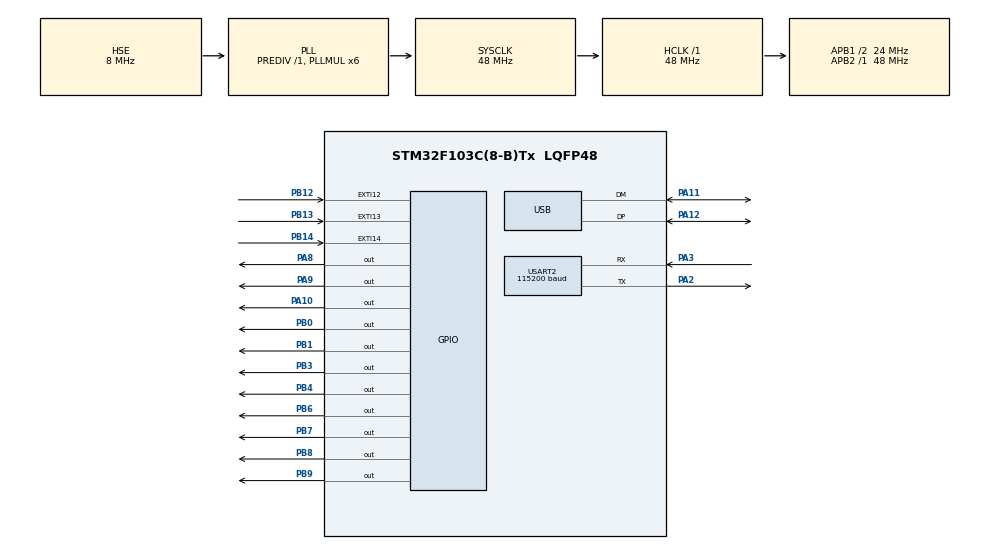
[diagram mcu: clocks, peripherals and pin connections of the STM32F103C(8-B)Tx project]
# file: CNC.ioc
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Mcu.Family=STM32F1
Mcu.Name=STM32F103C(8-B)Tx
Mcu.Package=LQFP48
NVIC.EXTI15_10_IRQn=true\:0\:0\:false\:false\:true\:true\:true\:true
NVIC.PriorityGroup=NVIC_PRIORITYGROUP_4
NVIC.USB_LP_CAN1_RX0_IRQn=true\:0\:0\:false\:false\:true\:false\:true\:true
PA10.Signal=GPIO_Output
PA11.Mode=Device
PA11.Signal=USB_DM
PA12.Mode=Device
PA12.Signal=USB_DP
PA13.Mode=Serial_Wire
PA13.Signal=SYS_JTMS-SWDIO
PA14.Mode=Serial_Wire
PA14.Signal=SYS_JTCK-SWCLK
PA2.Mode=Asynchronous
PA2.Signal=USART2_TX
PA3.Mode=Asynchronous
PA3.Signal=USART2_RX
PA8.Signal=GPIO_Output
PA9.Signal=GPIO_Output
PB0.Signal=GPIO_Output
PB1.Signal=GPIO_Output
PB12.GPIO_PuPd=GPIO_PULLUP
PB12.Signal=GPXTI12
PB13.GPIO_PuPd=GPIO_PULLUP
PB13.Signal=GPXTI13
PB14.GPIO_PuPd=GPIO_PULLUP
PB14.Signal=GPXTI14
PB3.Signal=GPIO_Output
PB4.Signal=GPIO_Output
PB6.Signal=GPIO_Output
PB7.Signal=GPIO_Output
PB8.Signal=GPIO_Output
PB9.Signal=GPIO_Output
PD0-OSC_IN.Mode=HSE-External-Oscillator
PD0-OSC_IN.Signal=RCC_OSC_IN
PD1-OSC_OUT.Mode=HSE-External-Oscillator
PD1-OSC_OUT.Signal=RCC_OSC_OUT
ProjectManager.HeapSize=0x200
ProjectManager.StackSize=0x400
ProjectManager.TargetToolchain=STM32CubeIDE
RCC.AHBFreq_Value=48000000
RCC.APB1CLKDivider=RCC_HCLK_DIV2
RCC.APB1Freq_Value=24000000
RCC.APB1TimFreq_Value=48000000
RCC.APB2Freq_Value=48000000
RCC.APB2TimFreq_Value=48000000
RCC.HCLKFreq_Value=48000000
RCC.PLLMUL=RCC_PLL_MUL6
RCC.PLLSourceVirtual=RCC_PLLSOURCE_HSE
RCC.SYSCLKFreq_VALUE=48000000
RCC.SYSCLKSource=RCC_SYSCLKSOURCE_PLLCLK
RCC.USBFreq_Value=48000000
USART2.BaudRate=115200
USART2.VirtualMode=VM_ASYNC
USB_DEVICE.CLASS_NAME_FS=CDC
USB_DEVICE.VirtualMode=Cdc
USB_DEVICE.VirtualModeFS=Cdc_FS
VP_USB_DEVICE_VS_USB_DEVICE_CDC_FS.Mode=CDC_FS
board=custom

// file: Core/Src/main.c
/* USER CODE BEGIN Header */
/**
  ******************************************************************************
  * @file           : main.c
  * @brief          : Main program body
  ******************************************************************************
  * @attention
  *
  * Copyright (c) 2025 STMicroelectronics.
  * All rights reserved.
  *
  * This software is licensed under terms that can be found in the LICENSE file
  * in the root directory of this software component.
  * If no LICENSE file comes with this software, it is provided AS-IS.
  *
  ******************************************************************************
  */
/* USER CODE END Header */
#include "main.h"
#include "usb_device.h"

/* USER CODE BEGIN Includes */
#include <string.h>
#include <stdio.h>
#include <stdlib.h>
#include <stdbool.h>
#include <math.h>
#include <stdint.h>
#include "usbd_cdc_if.h"
#include "stm32f1xx_hal.h"
#include "gcode_parser.h"
#include "config.h"
#include "motion.h"
//#include "usart.h"
/* USER CODE END Includes */

/* USER CODE BEGIN PD */

// Función auxiliar para envío USB según el método configurado
void sendUSBText(const char* message) {
    //uint16_t len = strlen(message);
    //CDC_Transmit_Queued((uint8_t*)message, len);
    HAL_UART_Transmit(&huart2, (uint8_t*)message, strlen(message), HAL_MAX_DELAY);
}

/* USER CODE END PD */

UART_HandleTypeDef huart2;

/* USER CODE BEGIN PV */
extern UART_HandleTypeDef huart1;
// Declarar buffer global (accesible desde motion.c)
char outputBuffer[OUTPUT_BUFFER_SIZE];
int bufferIndex = 0;
bool commandComplete = false;
int32_t currentX, currentY, currentZ;

// Variables para control de velocidad y feed rate
float currentFeedRate = DEFAULT_FEED_RATE;     // Feed rate en mm/min (valor por defecto)
float rapidRate = DEFAULT_RAPID_RATE;          // Velocidad rápida para G0 en mm/min
float maxFeedRate = DEFAULT_MAX_FEED_RATE;     // Velocidad máxima permitida

// Buffer para recibir comandos por USB CDC
char usbBuffer[USB_BUFFER_SIZE];
int usbBufferIndex = 0;
bool usbCommandComplete = false;  // Cambiar a false para evitar procesamiento inicial

// Sistema de almacenamiento de programa G-code
char gcodeProgram[MAX_GCODE_LINES][MAX_LINE_LENGTH];  // Buffer para almacenar el programa
int programLineCount = 0;          // Número de líneas actualmente almacenadas
int currentExecutingLine = 0;      // Línea que se está ejecutando actualmente
bool isStoringProgram = false;     // Flag para indicar si estamos en modo almacenamiento
bool isProgramLoaded = false;      // Flag para indicar si hay un programa cargado
bool isProgramRunning = false;     // Flag para indicar si el programa se está ejecutando

/* USER CODE END PV */

void SystemClock_Config(void);
static void MX_GPIO_Init(void);
static void MX_USART2_UART_Init(void);
/* USER CODE BEGIN PFP */
void loop(void);
void setup(void);
// void moveAxes(float x, float y, float z);
void processGcode(const char* command);
void performHoming(void);
bool isEndstopPressed(char axis);
void showConfiguration(void);
void report_status_message(uint8_t status_code);
void endstop_error_handler(char axis);

// Funciones para manejo de programa G-code
void startProgramStorage(void);
void stopProgramStorage(void);
bool addLineToProgram(const char* line);
void clearProgram(void);
void runProgram(void);
void runNextLine(void);
void pauseProgram(void);
void stopProgram(void);
void showHelp(void);
void showQueueStatus(void);  // Nueva función de diagnóstico
void showProgramStatus(void); // Nueva función para estado del programa

void processProgram(void);  // Nueva función para ejecutar programa progresivamente

/* USER CODE END PFP */

int main(void)
{

  /* MCU Configuration--------------------------------------------------------*/

  /* Reset of all peripherals, Initializes the Flash interface and the Systick. */
  HAL_Init();

  /* Configure the system clock */
  SystemClock_Config();

  /* USER CODE BEGIN SysInit */

    // Inicializar cola de transmisión USB CDC
    CDC_TxQueue_Init();

    // Inicialización similar al setup() de Arduino
    setup();

    #if DEBUG_MESSAGES
    // Mensaje adicional de debug
    CDC_Transmit_Queued((uint8_t*)"Sistema iniciado - Esperando comandos...\r\n", 42);
    #endif
  /* USER CODE END SysInit */

  /* Initialize all configured peripherals */
  MX_GPIO_Init();
  MX_USART2_UART_Init();
  MX_USB_DEVICE_Init();
  /* USER CODE BEGIN 2 */
    // Led de encendido inicial
    HAL_GPIO_WritePin(GPIOB, LED_CHECK, GPIO_PIN_SET);  // Encender
    // Envío inicial usando cola
    CDC_Transmit_Queued((uint8_t*)"G-code listo\r\n", 14);

  /* USER CODE END 2 */

  /* Infinite loop */
  /* USER CODE BEGIN WHILE */
  while (1)
  {
    // Procesar cola de transmisión USB CDC
    CDC_TxQueue_Process();

    loop();

    /* USER CODE END WHILE */

  }
}

void SystemClock_Config(void)
{
  RCC_OscInitTypeDef RCC_OscInitStruct = {0};
  RCC_ClkInitTypeDef RCC_ClkInitStruct = {0};
  RCC_PeriphCLKInitTypeDef PeriphClkInit = {0};

  /** Initializes the RCC Oscillators according to the specified parameters
  * in the RCC_OscInitTypeDef structure.
  */
  RCC_OscInitStruct.OscillatorType = RCC_OSCILLATORTYPE_HSE;
  RCC_OscInitStruct.HSEState = RCC_HSE_ON;
  RCC_OscInitStruct.HSEPredivValue = RCC_HSE_PREDIV_DIV1;
  RCC_OscInitStruct.HSIState = RCC_HSI_ON;
  RCC_OscInitStruct.PLL.PLLState = RCC_PLL_ON;
  RCC_OscInitStruct.PLL.PLLSource = RCC_PLLSOURCE_HSE;
  RCC_OscInitStruct.PLL.PLLMUL = RCC_PLL_MUL6;
  if (HAL_RCC_OscConfig(&RCC_OscInitStruct) != HAL_OK)
  {
    Error_Handler();
  }

  /** Initializes the CPU, AHB and APB buses clocks
  */
  RCC_ClkInitStruct.ClockType = RCC_CLOCKTYPE_HCLK|RCC_CLOCKTYPE_SYSCLK
                              |RCC_CLOCKTYPE_PCLK1|RCC_CLOCKTYPE_PCLK2;
  RCC_ClkInitStruct.SYSCLKSource = RCC_SYSCLKSOURCE_PLLCLK;
  RCC_ClkInitStruct.AHBCLKDivider = RCC_SYSCLK_DIV1;
  RCC_ClkInitStruct.APB1CLKDivider = RCC_HCLK_DIV2;
  RCC_ClkInitStruct.APB2CLKDivider = RCC_HCLK_DIV1;

  if (HAL_RCC_ClockConfig(&RCC_ClkInitStruct, FLASH_LATENCY_1) != HAL_OK)
  {
    Error_Handler();
  }
  PeriphClkInit.PeriphClockSelection = RCC_PERIPHCLK_USB;
  PeriphClkInit.UsbClockSelection = RCC_USBCLKSOURCE_PLL;
  if (HAL_RCCEx_PeriphCLKConfig(&PeriphClkInit) != HAL_OK)
  {
    Error_Handler();
  }
}

static void MX_USART2_UART_Init(void)
{

  /* USER CODE BEGIN USART2_Init 0 */
//
  /* USER CODE END USART2_Init 0 */

  /* USER CODE BEGIN USART2_Init 1 */
//
  /* USER CODE END USART2_Init 1 */
  huart2.Instance = USART2;
  huart2.Init.BaudRate = 9600;
  huart2.Init.WordLength = UART_WORDLENGTH_8B;
  huart2.Init.StopBits = UART_STOPBITS_1;
  huart2.Init.Parity = UART_PARITY_NONE;
  huart2.Init.Mode = UART_MODE_TX_RX;
  huart2.Init.HwFlowCtl = UART_HWCONTROL_NONE;
  huart2.Init.OverSampling = UART_OVERSAMPLING_16;
  if (HAL_UART_Init(&huart2) != HAL_OK)
  {
    Error_Handler();
  }
  /* USER CODE BEGIN USART2_Init 2 */
//
  /* USER CODE END USART2_Init 2 */

}

static void MX_GPIO_Init(void)
{
  GPIO_InitTypeDef GPIO_InitStruct = {0};

  /* GPIO Ports Clock Enable */
  __HAL_RCC_GPIOD_CLK_ENABLE();
  __HAL_RCC_GPIOA_CLK_ENABLE();
  __HAL_RCC_GPIOB_CLK_ENABLE();

  /*Configure GPIO pin Output Level */
  HAL_GPIO_WritePin(GPIOB, GPIO_PIN_0|GPIO_PIN_1|GPIO_PIN_3|GPIO_PIN_4
                          |GPIO_PIN_6|GPIO_PIN_7|GPIO_PIN_8|GPIO_PIN_9, GPIO_PIN_RESET);

  /*Configure GPIO pin Output Level */
  HAL_GPIO_WritePin(GPIOA, GPIO_PIN_8|GPIO_PIN_9|GPIO_PIN_10, GPIO_PIN_RESET);

  /*Configure GPIO pins : PB0 PB1 PB3 PB4
                           PB6 PB7 PB8 PB9 */
  GPIO_InitStruct.Pin = GPIO_PIN_0|GPIO_PIN_1|GPIO_PIN_3|GPIO_PIN_4
                          |GPIO_PIN_6|GPIO_PIN_7|GPIO_PIN_8|GPIO_PIN_9;
  GPIO_InitStruct.Mode = GPIO_MODE_OUTPUT_PP;
  GPIO_InitStruct.Pull = GPIO_NOPULL;
  GPIO_InitStruct.Speed = GPIO_SPEED_FREQ_LOW;
  HAL_GPIO_Init(GPIOB, &GPIO_InitStruct);

  /*Configure GPIO pins : PB12 PB13 PB14 */
  GPIO_InitStruct.Pin = GPIO_PIN_12|GPIO_PIN_13|GPIO_PIN_14;
  GPIO_InitStruct.Mode = GPIO_MODE_IT_RISING;
  GPIO_InitStruct.Pull = GPIO_PULLUP;
  HAL_GPIO_Init(GPIOB, &GPIO_InitStruct);

  /*Configure GPIO pins : PA8 PA9 PA10 */
  GPIO_InitStruct.Pin = GPIO_PIN_8|GPIO_PIN_9|GPIO_PIN_10;
  GPIO_InitStruct.Mode = GPIO_MODE_OUTPUT_PP;
  GPIO_InitStruct.Pull = GPIO_NOPULL;
  GPIO_InitStruct.Speed = GPIO_SPEED_FREQ_LOW;
  HAL_GPIO_Init(GPIOA, &GPIO_InitStruct);

  /* EXTI interrupt init*/
  HAL_NVIC_SetPriority(EXTI15_10_IRQn, 0, 0);
  HAL_NVIC_EnableIRQ(EXTI15_10_IRQn);

}

/* USER CODE BEGIN 4 */
void processGcode(const char* command) {
    // Comandos especiales para control de programa
    if (strncmp(command, "PROGRAM_START", 13) == 0) {
        startProgramStorage();
        return;
    }
    else if (strncmp(command, "PROGRAM_STOP", 12) == 0) {
        stopProgramStorage();
        return;
    }
    else if (strncmp(command, "PROGRAM_RUN", 11) == 0) {
        runProgram();
        return;
    }
    else if (strncmp(command, "PROGRAM_CLEAR", 13) == 0) {
        clearProgram();
        return;
    }
    else if (strncmp(command, "PROGRAM_PAUSE", 13) == 0) {
        pauseProgram();
        return;
    }
    else if (strncmp(command, "PROGRAM_NEXT", 12) == 0) {
        runNextLine();
        return;
    }
    else if (strncmp(command, "PROGRAM_STATUS", 14) == 0) {
        showProgramStatus();
        return;
    }
    else if (strncmp(command, "HELP", 4) == 0 || strncmp(command, "help", 4) == 0) {
        showHelp();
        return;
    }
    else if (strncmp(command, "QUEUE_STATUS", 12) == 0) {
        showQueueStatus();
        return;
    }
    else if (strncmp(command, "FIN", 3) == 0 || strncmp(command, "fin", 3) == 0) {
        if (isStoringProgram) {
            stopProgramStorage();
            return;
        }
    }
    // Si estamos en modo almacenamiento, agregar la línea al programa
    if (isStoringProgram) {
        if (addLineToProgram(command)) {
            sendUSBText("ok\r\n");
        } else {
            // El error ya fue enviado por addLineToProgram
            // Detener el modo de almacenamiento
            isStoringProgram = false;
            isProgramLoaded = false;
            programLineCount = 0;
        }
        return;
    }

    // Procesamiento normal de G-code
    char line_copy[100];
    strncpy(line_copy, command, sizeof(line_copy) - 1);
    line_copy[sizeof(line_copy) - 1] = '\0';

    uint8_t status = gc_execute_line(line_copy);

    // Enviar respuesta final usando el parser modular
    report_status_message(status);
}

void loop(void) {
    #if DEBUG_MESSAGES
    // Heartbeat para confirmar que el sistema está funcionando
    static uint32_t lastHeartbeat = 0;
    uint32_t currentTime = HAL_GetTick();  // Declarar currentTime

    // Debug: mostrar tiempo actual
    char debugMsg[50];
    sprintf(debugMsg, "[DEBUG] Tiempo actual: %lu\r\n", currentTime);
    sendUSBText(debugMsg);

    // Heartbeat cada 5 segundos para confirmar que está vivo
    if (currentTime - lastHeartbeat > 5000) {
        lastHeartbeat = currentTime;
        sendUSBText("[HEARTBEAT] Sistema activo\r\n");
    }
    #endif

    // Procesar programa en ejecución (si corresponde)
    if (isProgramRunning) {
        processProgram();
    }

    // Procesar comandos USB CDC - SOLO cuando hay un comando completo
    if (usbCommandComplete) {
        #if DEBUG_MESSAGES
        // Debug: mostrar estado de variables
        char debugStatus[200];  // Buffer más grande para evitar overflow
        sprintf(debugStatus, "[DEBUG] usbCommandComplete=true, bufferIndex=%d, buffer=[%s]\r\n",
                usbBufferIndex, usbBuffer);
        sendUSBText(debugStatus);
        #endif

        // Verificar que el buffer no esté vacío y contenga algo más que espacios
        bool hasValidCommand = false;
        for (int i = 0; i < usbBufferIndex; i++) {
            if (usbBuffer[i] != ' ' && usbBuffer[i] != '\t' && usbBuffer[i] != '\r' && usbBuffer[i] != '\n') {
                hasValidCommand = true;
                break;
            }
        }

        if (hasValidCommand && usbBufferIndex > 0) {
            #if DEBUG_MESSAGES
            // Debug: confirmar que llegó el comando (buffer más grande para evitar warning)
            sprintf(outputBuffer, ">>> [%s]\r\n", usbBuffer);
            sendUSBText(outputBuffer);

            #endif

            processGcode(usbBuffer);
        }

        // IMPORTANTE: Resetear todo después de procesar (o intentar procesar)
        usbBufferIndex = 0;
        memset(usbBuffer, 0, sizeof(usbBuffer));
        usbCommandComplete = false;  // Asegurar que se resetee correctamente
    }
}

void setup(void) {
    // Activar DWT para microsegundos
    CoreDebug->DEMCR |= CoreDebug_DEMCR_TRCENA_Msk;
    DWT->CTRL |= DWT_CTRL_CYCCNTENA_Msk;

    // Habilitar drivers de motores (EN pins en LOW)
    enableSteppers();

    // Asegurar que LEDs estén apagados al inicio
    HAL_GPIO_WritePin(GPIOB, LED_CHECK, GPIO_PIN_RESET);
    HAL_GPIO_WritePin(GPIOB, LED_ERROR, GPIO_PIN_RESET);

    // Secuencia de 3 parpadeos de los LEDs de chequeo y error
    for (int i = 0; i < 3; i++) {
        HAL_GPIO_WritePin(GPIOB, LED_CHECK, GPIO_PIN_SET);
        HAL_GPIO_WritePin(GPIOB, LED_ERROR, GPIO_PIN_SET);
        HAL_Delay(150);
        HAL_GPIO_WritePin(GPIOB, LED_CHECK, GPIO_PIN_RESET);
        HAL_GPIO_WritePin(GPIOB, LED_ERROR, GPIO_PIN_RESET);
        HAL_Delay(150);
    }

    // Inicializar parser G-code modular con callbacks
    gc_init();

}

// Callback específico para movimiento rápido G0
void moveAxesRapidCallback(float x, float y, float z, bool x_defined, bool y_defined, bool z_defined) {
    // Usar movimiento directo (modo compatibilidad)
    float target_x = x_defined ? x : NAN;
    float target_y = y_defined ? y : NAN;
    float target_z = z_defined ? z : NAN;

    moveAxesWithFeedRate(target_x, target_y, target_z, rapidRate, true);
}

void moveAxesArcCallback(float x, float y, float r, bool clockwise, float feedRate, bool f_defined) {
    // Actualizar feed rate actual si se especifica
    if (f_defined && feedRate > 0) {
        currentFeedRate = feedRate;
    }

    // Usar movimiento directo con feed rate actual
    arc_move_r(x, y, r, clockwise, currentFeedRate);
}

// Callback específico para movimiento lineal G1 con feed rate
void moveAxesLinearCallback(float x, float y, float z, float feedRate, bool x_defined, bool y_defined, bool z_defined, bool f_defined) {
    // Actualizar feed rate actual si se especifica
    if (f_defined && feedRate > 0) {
        currentFeedRate = feedRate;
    }

    float target_x = x_defined ? x : NAN;
    float target_y = y_defined ? y : NAN;
    float target_z = z_defined ? z : NAN;

    moveAxesWithFeedRate(target_x, target_y, target_z, currentFeedRate, false);
}

// Función para mostrar la configuración actual del sistema
void showConfiguration(void) {

    sendUSBText("=== CONFIGURACIÓN CNC ===\r\n");

    sprintf(outputBuffer, "Steps per mm X: %d\r\n", STEPS_PER_MM_X);
    sendUSBText(outputBuffer);

    sprintf(outputBuffer, "Steps per mm Y: %d\r\n", STEPS_PER_MM_Y);
    sendUSBText(outputBuffer);

    sprintf(outputBuffer, "Steps per mm Z: %d\r\n", STEPS_PER_MM_Z);
    sendUSBText(outputBuffer);

    sprintf(outputBuffer, "Step delay: %d us\r\n", STEP_DELAY_US);
    sendUSBText(outputBuffer);

    // Convertir feed rate actual a enteros
    int feed_int = (int)currentFeedRate;
    int feed_dec = (int)((currentFeedRate - feed_int) * 10);
    sprintf(outputBuffer, "Feed rate actual: %d.%d mm/min\r\n", feed_int, feed_dec);
    sendUSBText(outputBuffer);

    // Convertir velocidades a enteros para mostrar
    int rapid_int = (int)rapidRate;
    int rapid_dec = (int)((rapidRate - rapid_int) * 10);
    sprintf(outputBuffer, "Velocidad rápida (G0): %d.%d mm/min\r\n", rapid_int, rapid_dec);
    sendUSBText(outputBuffer);

    int max_int = (int)maxFeedRate;
    int max_dec = (int)((maxFeedRate - max_int) * 10);
    sprintf(outputBuffer, "Velocidad máxima: %d.%d mm/min\r\n", max_int, max_dec);
    sendUSBText(outputBuffer);

    // Mostrar posición actual
    float xPos = currentX / (float)STEPS_PER_MM_X;
    float yPos = currentY / (float)STEPS_PER_MM_Y;
    float zPos = currentZ / (float)STEPS_PER_MM_Z;

    // Convertir a enteros para evitar problemas con printf float
    int x_int = (int)xPos;
    int x_dec = (int)((xPos - x_int) * 100);
    int y_int = (int)yPos;
    int y_dec = (int)((yPos - y_int) * 100);
    int z_int = (int)zPos;
    int z_dec = (int)((zPos - z_int) * 100);

    sprintf(outputBuffer, "Posición actual: X%d.%02d Y%d.%02d Z%d.%02d mm\r\n",
           x_int, abs(x_dec), y_int, abs(y_dec), z_int, abs(z_dec));
    sendUSBText(outputBuffer);

    sendUSBText("=== FIN CONFIGURACIÓN ===\r\n");
}

// Función para verificar si un final de carrera está presionado
bool isEndstopPressed(char axis) {
    switch(axis) {
        case 'X':
            return (HAL_GPIO_ReadPin(GPIOB, X_MIN_PIN) == GPIO_PIN_RESET);
        case 'Y':
            return (HAL_GPIO_ReadPin(GPIOB, Y_MIN_PIN) == GPIO_PIN_RESET);
        case 'Z':
            return (HAL_GPIO_ReadPin(GPIOB, Z_MIN_PIN) == GPIO_PIN_RESET);
        default:
            return false;
    }
}

// Función de homing para todos los ejes
void performHoming(void) {
    HAL_NVIC_DisableIRQ(EXTI15_10_IRQn);

    // Enviar mensaje de inicio de homing
    sendUSBText("Iniciando secuencia de homing...\r\n");

    // FASE 1: Movimiento rápido hacia los finales de carrera
    sprintf(outputBuffer, "Fase 1: Buscando finales de carrera...\r\n");
    sendUSBText(outputBuffer);

    // Homing del eje X
    sprintf(outputBuffer, "Homing eje X...\r\n");
    sendUSBText(outputBuffer);

    // Mover hacia el final de carrera X (dirección negativa)
    HAL_GPIO_WritePin(GPIOB, X_DIR_PIN, GPIO_PIN_RESET); // Dirección negativa
    while (!isEndstopPressed('X')) {
        X_stepOnce();
        delay_us(STEP_DELAY_US);
    }

    // FASE 1: Retroceder 2mm del final de carrera X
    HAL_GPIO_WritePin(GPIOB, X_DIR_PIN, GPIO_PIN_SET); // Dirección positiva
    for (int i = 0; i < 4*STEPS_PER_MM_X; i++) { // Exactamente 2mm
        X_stepOnce();
        delay_us(STEP_DELAY_US);
    }

    // Verificar que se liberó el switch después de alejarse 2mm
    if (isEndstopPressed('X')) {
        sprintf(outputBuffer, "Error: Fin de carrera X no se liberó después de alejarse 2mm\r\n");
        sendUSBText(outputBuffer);

        return;
    }

    // FASE 2: Regresar 4mm hacia el final de carrera X
    HAL_GPIO_WritePin(GPIOB, X_DIR_PIN, GPIO_PIN_RESET); // Dirección negativa
    for (int i = 0; i < 4*STEPS_PER_MM_X; i++) { // Exactamente 4mm de regreso
        X_stepOnce();
        delay_us(STEP_DELAY_US *3); // Movimiento lento para precisión
    }
    // Pausa para estabilización
    HAL_Delay(100);
    // Verificar que el final de carrera esté presionado después de regresar 4mm
    if (!isEndstopPressed('X')) {
        sprintf(outputBuffer, "Error: Fin de carrera X no está presionado después de regresar 4mm\r\n");
        sendUSBText(outputBuffer);

        return;
    }
    currentX = 0; // Establecer posición home
    sprintf(outputBuffer, "Eje X en posición home\r\n");
    sendUSBText(outputBuffer);

    // Homing del eje Y
    sprintf(outputBuffer, "Homing eje Y...\r\n");
    sendUSBText(outputBuffer);

    // Mover hacia el final de carrera Y (dirección negativa)
    HAL_GPIO_WritePin(GPIOB, Y_DIR_PIN, GPIO_PIN_RESET); // Dirección negativa
    while (!isEndstopPressed('Y')) {
        Y_stepOnce();
        delay_us(STEP_DELAY_US);
    }

    // FASE 1: Retroceder 4mm del final de carrera Y
    HAL_GPIO_WritePin(GPIOB, Y_DIR_PIN, GPIO_PIN_SET); // Dirección positiva
    for (int i = 0; i < 4*STEPS_PER_MM_Y; i++) { // Exactamente 4mm
        Y_stepOnce();
        delay_us(STEP_DELAY_US);
    }

    // Verificar que se liberó el switch después de alejarse 4mm
    if (isEndstopPressed('Y')) {
        sprintf(outputBuffer, "Error: Fin de carrera Y no se liberó después de alejarse 4mm\r\n");
        sendUSBText(outputBuffer);

        return;
    }

    // FASE 2: Regresar 4mm hacia el final de carrera Y
    HAL_GPIO_WritePin(GPIOB, Y_DIR_PIN, GPIO_PIN_RESET); // Dirección negativa
    for (int i = 0; i < 4.02*STEPS_PER_MM_Y; i++) { // Exactamente 4mm de regreso
        Y_stepOnce();
        delay_us(STEP_DELAY_US*3); // Movimiento lento para precisión
    }
    // Pausa para estabilización
    HAL_Delay(100);
    // Verificar que el final de carrera esté presionado después de regresar 4mm
    if (!isEndstopPressed('Y')) {
        sprintf(outputBuffer, "Error: Fin de carrera Y no está presionado después de regresar 4mm\r\n");
        sendUSBText(outputBuffer);

        return;
    }

    currentY = 0; // Establecer posición home
    sprintf(outputBuffer, "Eje Y en posición home\r\n");
    sendUSBText(outputBuffer);

    CDC_TxQueue_Process();
    // Homing del eje Z
    sprintf(outputBuffer, "Homing eje Z...\r\n");
    sendUSBText(outputBuffer);CDC_TxQueue_Process();

    // Mover hacia el final de carrera Z (dirección negativa)
    HAL_GPIO_WritePin(GPIOA, Z_DIR_PIN, GPIO_PIN_SET); // Dirección negativa
    while (!isEndstopPressed('Z')) {
        Z_stepOnce();
        delay_us(STEP_DELAY_US/3);
    }

    // FASE 1: Retroceder 2mm del final de carrera Z
    HAL_GPIO_WritePin(GPIOA, Z_DIR_PIN, GPIO_PIN_RESET); // Dirección positiva
    for (int i = 0; i < 2*STEPS_PER_MM_Z; i++) { // Exactamente 2mm
        Z_stepOnce();
        delay_us(STEP_DELAY_US/3);
    }

    // Verificar que se liberó el switch después de alejarse 2mm
    if (isEndstopPressed('Z')) {
        sprintf(outputBuffer, "Error: Fin de carrera Z no se liberó después de alejarse 2mm\r\n");
        sendUSBText(outputBuffer);

        return;
    }

    // FASE 2: Regresar 2mm hacia el final de carrera Z
    HAL_GPIO_WritePin(GPIOA, Z_DIR_PIN, GPIO_PIN_SET); // Dirección negativa
    for (int i = 0; i < 2*STEPS_PER_MM_Z; i++) { // Exactamente 2mm de regreso
        Z_stepOnce();
        delay_us(STEP_DELAY_US); // Movimiento lento para precisión
    }
    // Pausa para estabilización
    HAL_Delay(100);
    // Verificar que el final de carrera esté presionado después de regresar 2mm
    if (!isEndstopPressed('Z')) {
        sprintf(outputBuffer, "Error: Fin de carrera Z no está presionado después de regresar 2mm\r\n");
        sendUSBText(outputBuffer);

        return;
    }

    currentZ = 0; // Establecer posición home
    sprintf(outputBuffer, "Eje Z en posición home\r\n");
    sendUSBText(outputBuffer);CDC_TxQueue_Process();

    // Mensaje final
    sprintf(outputBuffer, "Homing completado. Todos los ejes en posición home.\r\n");
    sendUSBText(outputBuffer);

    CDC_TxQueue_Process();

    // Rehabilitar interrupciones
    HAL_NVIC_EnableIRQ(EXTI15_10_IRQn);
}

// ========================================================================
// FUNCIONES PARA MANEJO DE PROGRAMA G-CODE
// =============================================================================

/**
  * @brief  Inicia el modo de almacenamiento de programa
  * @retval None
  */
void startProgramStorage(void) {
    isStoringProgram = true;
    programLineCount = 0;
    isProgramLoaded = false;

    // Limpiar buffer de programa
    for (int i = 0; i < MAX_GCODE_LINES; i++) {
        memset(gcodeProgram[i], 0, MAX_LINE_LENGTH);
    }

    sendUSBText("Modo almacenamiento activado. Envie comandos G-code.\r\n");
    sendUSBText("Termine con 'FIN' o 'PROGRAM_STOP'\r\n");
    //sendUSBText("ok\r\n");
}

/**
  * @brief  Detiene el modo de almacenamiento de programa
  * @retval None
  */
void stopProgramStorage(void) {
    isStoringProgram = false;

    if (programLineCount > 0) {
        isProgramLoaded = true;
        sprintf(outputBuffer, "Programa cargado: %d lineas almacenadas\r\n", programLineCount);
        sendUSBText(outputBuffer);

        sendUSBText("Use 'PROGRAM_RUN' para ejecutar o 'PROGRAM_INFO' para ver detalles\r\n");
    } else {
        sendUSBText("No se almacenaron lineas\r\n");
    }

    sendUSBText("ok\r\n");
}

/**
  * @brief  Agrega una línea al programa almacenado
  * @param  line: Línea de G-code a agregar
  * @retval true si se agregó exitosamente, false si hay error
  */
bool addLineToProgram(const char* line) {
    if (programLineCount >= MAX_GCODE_LINES) {
        sendUSBText("error: buffer de programa lleno\r\n");
        return false; // Buffer lleno
    }

    // Copiar la línea, eliminando espacios al inicio y final
    const char* start = line;
    while (*start == ' ' || *start == '\t') start++; // Saltar espacios iniciales

    if (strlen(start) == 0) {
        return true; // Línea vacía, no la almacenamos pero no es error
    }

    // Crear copia para verificación de límites
    char line_copy[MAX_LINE_LENGTH];
    strncpy(line_copy, start, MAX_LINE_LENGTH - 1);
    line_copy[MAX_LINE_LENGTH - 1] = '\0';

    // Eliminar \r\n del final si existen
    int len = strlen(line_copy);
    while (len > 0 && (line_copy[len-1] == '\r' || line_copy[len-1] == '\n')) {
        line_copy[len-1] = '\0';
        len--;
    }

    // Verificar límites antes de agregar al programa
    // Solo verificamos comandos de movimiento (G0, G1, G2, G3)
    if (strncmp(line_copy, "G0", 2) == 0 || strncmp(line_copy, "G1", 2) == 0 ||
        strncmp(line_copy, "G2", 2) == 0 || strncmp(line_copy, "G3", 2) == 0) {

        // Parsear la línea para extraer coordenadas
        uint8_t parse_status = gc_parse_line(line_copy);
        if (parse_status != STATUS_OK) {
            char error_msg[100];
            sprintf(error_msg, "error: línea %d - ", programLineCount + 1);
            sendUSBText(error_msg);
            report_status_message(parse_status);
            return false;
        }

        // Verificar límites de software
        uint8_t limit_status = check_soft_limits(gc_block.values.x, gc_block.values.y, gc_block.values.z,
                                                 gc_block.values.x_defined, gc_block.values.y_defined, gc_block.values.z_defined);
        if (limit_status != STATUS_OK) {
            char error_msg[150];
            sprintf(error_msg, "error: línea %d viola límites - ", programLineCount + 1);
            sendUSBText(error_msg);
            report_status_message(limit_status);
            sendUSBText("Carga de programa cancelada\r\n");
            return false;
        }
    }

    // Si llegamos aquí, la línea es válida, agregarla al programa
    strncpy(gcodeProgram[programLineCount], line_copy, MAX_LINE_LENGTH - 1);
    gcodeProgram[programLineCount][MAX_LINE_LENGTH - 1] = '\0';

    programLineCount++;
    return true;
}

/**
  * @brief  Limpia el programa almacenado
  * @retval None
  */
void clearProgram(void) {
    programLineCount = 0;
    currentExecutingLine = 0;
    isProgramLoaded = false;
    isProgramRunning = false;
    isStoringProgram = false;

    // Limpiar buffer
    for (int i = 0; i < MAX_GCODE_LINES; i++) {
        memset(gcodeProgram[i], 0, MAX_LINE_LENGTH);
    }

    sendUSBText("Programa limpiado\r\n");
    //sendUSBText("ok\r\n");
}

/**
  * @brief  Ejecuta el programa completo almacenado
  * @retval None
  */
void runProgram(void) {

    if (!isProgramLoaded || programLineCount == 0) {
        sprintf(outputBuffer, "error: No hay programa cargado\r\n");
        sendUSBText(outputBuffer);

        return;
    }

    isProgramRunning = true;
    currentExecutingLine = 0;

    sprintf(outputBuffer, "Iniciando ejecucion del programa (%d lineas)\r\n", programLineCount);
    sendUSBText(outputBuffer);

    sendUSBText("Programa en ejecucion. Use PROGRAM_PAUSE para pausar.\r\n");
}

/**
  * @brief  Ejecuta la siguiente línea del programa
  * @retval None
  */
void runNextLine(void) {
    if (!isProgramLoaded || programLineCount == 0) {
        sprintf(outputBuffer, "error: No hay programa cargado\r\n");
        sendUSBText(outputBuffer);

        return;
    }

    if (currentExecutingLine >= programLineCount) {
        sprintf(outputBuffer, "Programa completado\r\n");
        sendUSBText(outputBuffer);

        isProgramRunning = false;
        return;
    }

    sprintf(outputBuffer, "Ejecutando linea %d: %s\r\n", currentExecutingLine + 1, gcodeProgram[currentExecutingLine]);
    sendUSBText(outputBuffer);

    // Ejecutar el comando
    char temp_command[MAX_LINE_LENGTH];
    strncpy(temp_command, gcodeProgram[currentExecutingLine], MAX_LINE_LENGTH - 1);
    temp_command[MAX_LINE_LENGTH - 1] = '\0';

    uint8_t status = gc_execute_line(temp_command);

    if (status == STATUS_OK) {
        currentExecutingLine++;
    } else {
        sprintf(outputBuffer, "error: codigo %d en linea %d\r\n", status, currentExecutingLine + 1);
        sendUSBText(outputBuffer);

        isProgramRunning = false;
    }
}

/**
  * @brief  Pausa la ejecución del programa
  * @retval None
  */
void pauseProgram(void) {
    isProgramRunning = false;
    sprintf(outputBuffer, "Programa pausado\r\n");
    sendUSBText(outputBuffer);

    sprintf(outputBuffer, "ok\r\n");
    sendUSBText(outputBuffer);

}

/**
  * @brief  Detiene completamente la ejecución del programa
  * @retval None
  */
void stopProgram(void) {
    isProgramRunning = false;
    currentExecutingLine = 0;
    sprintf(outputBuffer, "Programa detenido\r\n");
    sendUSBText(outputBuffer);

    sprintf(outputBuffer, "ok\r\n");
    sendUSBText(outputBuffer);

}

/**
  * @brief  Muestra la ayuda del sistema de programas G-code
  * @retval None
  */
void showHelp(void) {
    sendUSBText("\r\n=== AYUDA DEL SISTEMA CNC ===\r\n");
    sendUSBText("\r\nCOMANDOS DE PROGRAMA:\r\n");
    sendUSBText("PROGRAM_START  - Inicia modo almacenamiento de programa\r\n");
    sendUSBText("PROGRAM_STOP   - Detiene almacenamiento\r\n");
    sendUSBText("FIN            - Termina almacenamiento de programa\r\n");
    sendUSBText("PROGRAM_RUN    - Ejecuta programa completo\r\n");
    sendUSBText("PROGRAM_NEXT   - Ejecuta siguiente linea\r\n");
    sendUSBText("PROGRAM_PAUSE  - Pausa ejecucion\r\n");
    sendUSBText("PROGRAM_STATUS - Estado del programa actual\r\n");
    sendUSBText("PROGRAM_INFO   - Muestra informacion del programa\r\n");
    sendUSBText("PROGRAM_CLEAR  - Limpia programa almacenado\r\n");
    sendUSBText("QUEUE_STATUS   - Estado de cola de transmision USB\r\n");

    sendUSBText("\r\nCOMANDOS G-CODE BASICOS:\r\n");
    sendUSBText("G0 X Y Z       - Movimiento rapido\r\n");
    sendUSBText("G1 X Y Z F     - Movimiento lineal con feed rate\r\n");
    sendUSBText("G28            - Homing (ir a origen)\r\n");
    sendUSBText("G92 X Y Z      - Establecer posicion actual\r\n");
    sendUSBText("M17            - Habilitar motores\r\n");
    sendUSBText("M18 / M84      - Deshabilitar motores\r\n");
    sendUSBText("M114           - Reportar posicion actual\r\n");
    sendUSBText("M503           - Mostrar configuracion\r\n");
    sendUSBText("M505           - Mostrar limites de la maquina\r\n");

    sendUSBText("\r\nEJEMPLO DE USO:\r\n");
    sendUSBText("1. PROGRAM_START\r\n");
    sendUSBText("2. G28 (enviar)\r\n");
    sendUSBText("3. G0 X10 Y10 (enviar)\r\n");
    sendUSBText("4. G1 X20 Y20 F100 (enviar)\r\n");
    sendUSBText("5. FIN\r\n");
    sendUSBText("6. PROGRAM_RUN\r\n");

    sendUSBText("\r\n=== FIN AYUDA ===\r\n");
    sendUSBText("ok\r\n");
}

/**
  * @brief  Muestra el estado de la cola de transmisión USB CDC
  * @retval None
  */
void showQueueStatus(void) {

    sprintf(outputBuffer, "\r\n=== ESTADO COLA USB CDC ===\r\n");
    sendUSBText(outputBuffer);

    sprintf(outputBuffer, "Mensajes en cola: %d/%d\r\n", CDC_TxQueue_GetCount(), 10);
    sendUSBText(outputBuffer);

    sprintf(outputBuffer, "Cola llena: %s\r\n", CDC_TxQueue_IsFull() ? "SI" : "NO");
    sendUSBText(outputBuffer);

    sprintf(outputBuffer, "Método transmisión: ");
    sendUSBText(outputBuffer);

    switch (USB_TRANSMIT_METHOD) {
        case USB_METHOD_DIRECT:
            sendUSBText("DIRECTO\r\n");
            break;
        case USB_METHOD_RETRY:
            sendUSBText("REINTENTOS\r\n");
            break;
        case USB_METHOD_QUEUED:
            sendUSBText("COLA\r\n");
            break;
    }

    sendUSBText("===========================\r\n");
}

/**
  * @brief  Muestra el estado del programa en ejecución
  * @retval None
  */
void showProgramStatus(void) {
    sprintf(outputBuffer, "\r\n=== ESTADO PROGRAMA G-CODE ===\r\n");
    sendUSBText(outputBuffer);

    sprintf(outputBuffer, "Programa cargado: %s\r\n", isProgramLoaded ? "SI" : "NO");
    sendUSBText(outputBuffer);

    sprintf(outputBuffer, "Programa ejecutándose: %s\r\n", isProgramRunning ? "SI" : "NO");
    sendUSBText(outputBuffer);

    if (isProgramLoaded) {
        sprintf(outputBuffer, "Total de líneas: %d\r\n", programLineCount);
        sendUSBText(outputBuffer);

        sprintf(outputBuffer, "Línea actual: %d\r\n", currentExecutingLine + 1);
        sendUSBText(outputBuffer);

        int progress = (programLineCount > 0) ? (currentExecutingLine * 100) / programLineCount : 0;
        sprintf(outputBuffer, "Progreso: %d%%\r\n", progress);
        sendUSBText(outputBuffer);

        if (isProgramRunning && currentExecutingLine < programLineCount) {
            sprintf(outputBuffer, "Próxima línea: %s\r\n", gcodeProgram[currentExecutingLine]);
            sendUSBText(outputBuffer);

        }
    }

    sendUSBText("=============================\r\n");
}

/**
  * @brief  Procesa la ejecución del programa de manera no bloqueante
  * @retval None
  */
void processProgram(void) {
    static uint32_t lastProgramTime __attribute__((unused)) = 0;
    uint32_t currentTime = HAL_GetTick();

    // Verificar si hay líneas pendientes y si el buffer tiene espacio
    if (currentExecutingLine >= programLineCount) {
        // Programa completado

            sprintf(outputBuffer, "Programa completado exitosamente\r\n");
            sendUSBText(outputBuffer);

            isProgramRunning = false;

        return;
    }

    // Ejecutar siguiente línea
    sprintf(outputBuffer, "Ejecutando linea %d: %s\r\n", currentExecutingLine + 1, gcodeProgram[currentExecutingLine]);
    sendUSBText(outputBuffer);

    // Crear una copia temporal para evitar recursión
    char temp_command[MAX_LINE_LENGTH];
    strncpy(temp_command, gcodeProgram[currentExecutingLine], MAX_LINE_LENGTH - 1);
    temp_command[MAX_LINE_LENGTH - 1] = '\0';

    // Ejecutar el comando directamente usando el parser modular
    uint8_t status = gc_execute_line(temp_command);
    CDC_TxQueue_Process();
    // Verificar resultado
    if (status == STATUS_OK) {
        // Comando ejecutado exitosamente, avanzar a la siguiente línea
        currentExecutingLine++;
        lastProgramTime = currentTime;
    } else {
        // Error en la ejecución
        sprintf(outputBuffer, "error: codigo %d en linea %d\r\n", status, currentExecutingLine + 1);
        sendUSBText(outputBuffer);

        isProgramRunning = false;
    }
}

/* USER CODE END 4 */

/* USER CODE BEGIN 5 */
void HAL_GPIO_EXTI_Callback(uint16_t GPIO_Pin)
{
    // Tu código de interrupción aquí
    static uint32_t lastInterruptTime = 0;
    uint32_t currentTime = HAL_GetTick();

    // Debounce de 50ms para evitar múltiples disparos
    if (currentTime - lastInterruptTime < 50) return;
    lastInterruptTime = currentTime;

    // Definir tolerancia en pasos (1mm para cada eje)
    const int32_t TOLERANCE_X = 2 * STEPS_PER_MM_X;  // 2mm en pasos
    const int32_t TOLERANCE_Y = 2 * STEPS_PER_MM_Y;  // 2mm en pasos
    const int32_t TOLERANCE_Z = 2 * STEPS_PER_MM_Z;  // 2mm en pasos

    switch(GPIO_Pin) {
        case GPIO_PIN_12: // X_MIN_PIN
            // Solo activar error si está a más de 1mm del home (posición 0)
            if (currentX > TOLERANCE_X) {
                endstop_error_handler('X');
            }
            break;
        case GPIO_PIN_13: // Y_MIN_PIN
            // Solo activar error si está a más de 1mm del home (posición 0)
            if (currentY > TOLERANCE_Y) {
                endstop_error_handler('Y');
            }
            break;
        case GPIO_PIN_14: // Z_MIN_PIN
            // Solo activar error si está a más de 1mm del home (posición 0)
            if (currentZ > TOLERANCE_Z) {
                endstop_error_handler('Z');
            }
            break;
    }
}

void endstop_error_handler(char axis)
{
    disableSteppers();

    // Calcular posición actual en mm para el mensaje
    float current_pos_mm;
    switch(axis) {
        case 'X':
            current_pos_mm = currentX / (float)STEPS_PER_MM_X;
            break;
        case 'Y':
            current_pos_mm = currentY / (float)STEPS_PER_MM_Y;
            break;
        case 'Z':
            current_pos_mm = currentZ / (float)STEPS_PER_MM_Z;
            break;
        default:
            current_pos_mm = 0.0f;
    }

    // Convertir a enteros para evitar problemas con printf float
    int pos_int = (int)current_pos_mm;
    int pos_dec = (int)((current_pos_mm - pos_int) * 100);

    sprintf(outputBuffer, "ERROR: Final de carrera %c activado en pos=%d.%02dmm (fuera de tolerancia)!\r\n",
            axis, pos_int, abs(pos_dec));
    CDC_Transmit_Queued((uint8_t*)outputBuffer, strlen(outputBuffer));
    HAL_GPIO_WritePin(GPIOB, LED_ERROR, GPIO_PIN_SET);
}
/* USER CODE END 5 */

void Error_Handler(void)
{
  /* USER CODE BEGIN Error_Handler_Debug */
  /* User can add his own implementation to report the HAL error return state */
  __disable_irq();
    // Detener todos los motores de forma segura
  disableSteppers();

  // Enviar mensaje de error por USB CDC
  CDC_Transmit_Queued((uint8_t*)"ERROR CRITICO DEL SISTEMA\r\n", 27);

  // LED de error
  HAL_GPIO_WritePin(GPIOB, LED_ERROR, GPIO_PIN_SET);
  while (1)
  {
        // Parpadear LED de error
    HAL_GPIO_TogglePin(GPIOB, LED_ERROR);
    HAL_Delay(500);
  }
  /* USER CODE END Error_Handler_Debug */
}
